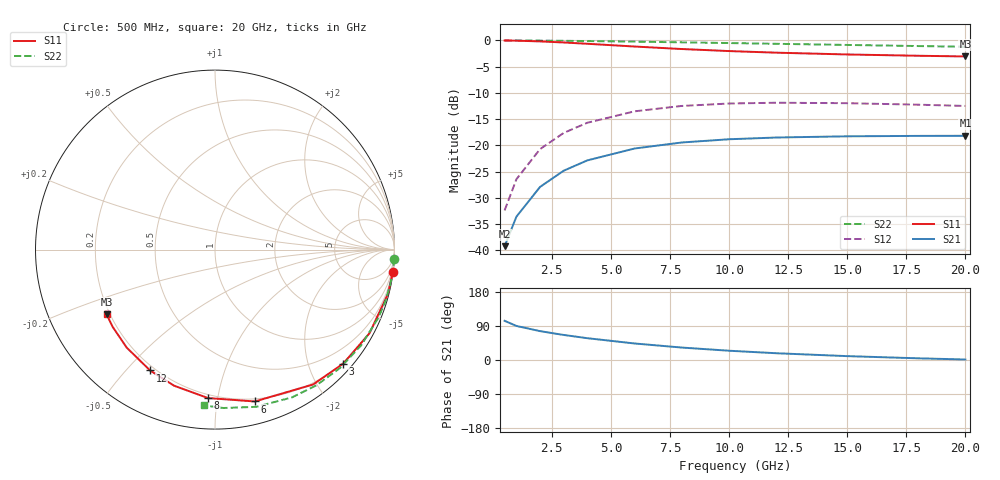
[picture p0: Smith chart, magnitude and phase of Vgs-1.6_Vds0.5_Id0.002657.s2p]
# Hz S RI R 50
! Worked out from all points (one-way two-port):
!   12 points, 500 MHz to 20 GHz, reference 50 ohm
!   highest |S21| = -18.17 dB at 20 GHz (marker M1); lowest = -39.2 dB at 500 MHz (marker M2)
!   lowest |S11| = -3.1 dB at 20 GHz (marker M3), VSWR 5.75, Z = 9.34 - j13.4 ohm
!   |S11| at or under -10 dB: nowhere
!   |S22| runs from -1.2 to 0.0 dB; largest |S21 - S12| = 0.15
!   S11 on the Smith chart (normalised r, x): 500 MHz: 0, -16; 3 GHz: 0.18, -2.62; 6 GHz: 0.18, -1.28; 8 GHz: 0.18, -0.94; 12 GHz: 0.18, -0.58; 20 GHz: 0.19, -0.27
5e8  0.9906 -0.1259  -0.00254 0.0107  0.00227 0.0239  0.9981 -0.05
1e9  0.9631 -0.2478  4.32e-05 0.021  0.00894 0.0468  0.9936 -0.0997
2e9  0.8607 -0.4661  0.00962 0.0391  0.0335 0.0859  0.9762 -0.1972
3e9  0.714 -0.6357  0.0233 0.0525  0.0681 0.1125  0.9482 -0.2903
4e9  0.5466 -0.7515  0.0386 0.0607  0.1064 0.1252  0.9108 -0.3784
6e9  0.2217 -0.8461  0.0677 0.0644  0.1756 0.1173  0.814 -0.5339
8e9  -0.0387 -0.8272  0.0896 0.0578  0.2223 0.0842  0.6954 -0.6605
1e10  -0.2279 -0.7583  0.1042 0.0474  0.2467 0.044  0.5647 -0.7564
1.2e10  -0.3616 -0.6735  0.1132 0.0364  0.2549 0.00567  0.4294 -0.8233
1.5e10  -0.4922 -0.5458  0.1201 0.0216  0.2489 -0.0417  0.2302 -0.8759
1.8e10  -0.5703 -0.4302  0.1228 0.00956  0.2322 -0.0758  0.0474 -0.8826
2e10  -0.604 -0.3609  0.1234 0.00288  0.2189 -0.0924  -0.0621 -0.868
